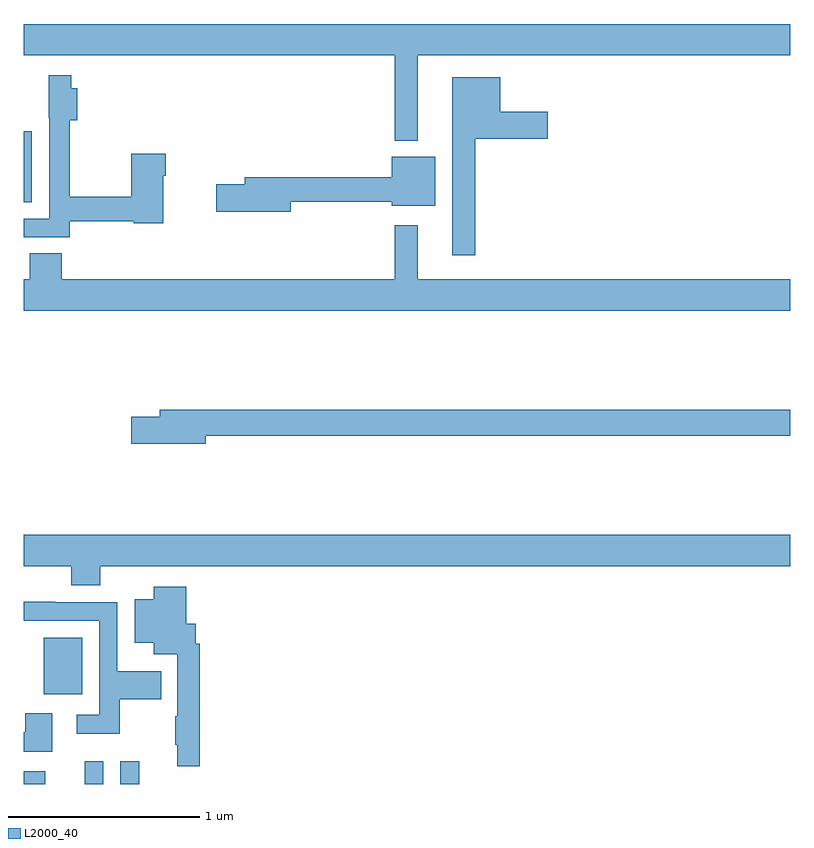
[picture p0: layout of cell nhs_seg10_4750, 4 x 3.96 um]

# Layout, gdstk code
import gdstk
lib = gdstk.Library(unit=1e-6, precision=1e-09)
def R(c, l, rs):  # rectangles x0, y0, x1, y1
    for r in rs: c.add(gdstk.rectangle(r[:2], r[2:], *l))
def P(c, l, *ps):  # polygons
    for p in ps: c.add(gdstk.Polygon(p, *l))
L2000_40 = (2000, 40)

nhs_seg10_4750 = lib.new_cell('nhs_seg10_4750')
R(nhs_seg10_4750, L2000_40, [(383,1312.5,383.113,1312.567), (383.318,1312.5,383.415,1312.618), (383.505,1312.5,383.603,1312.618), (383.105,1312.967,383.305,1313.263), (383,1315.534,383.044,1315.905)])
P(nhs_seg10_4750, L2000_40, [(385.057,1316.3),(387,1316.3),(387,1316.464),(383,1316.464),(383,1316.3),(384.936,1316.3),(384.936,1315.856),(385.057,1315.856)],
  [(383.242,1315.434),(383.574,1315.434),(383.574,1315.426),(383.728,1315.426),(383.728,1315.673),(383.741,1315.673),(383.741,1315.786),(383.563,1315.786),(383.563,1315.562),(383.242,1315.562),(383.242,1315.963),(383.279,1315.963),(383.279,1316.128),(383.249,1316.128),(383.249,1316.197),(383.132,1316.197),(383.132,1315.974),(383.133,1315.974),(383.133,1315.449),(383,1315.449),(383,1315.353),(383.242,1315.353)],
  [(385.357,1315.865),(385.735,1315.865),(385.735,1316.007),(385.486,1316.007),(385.486,1316.185),(385.235,1316.185),(385.235,1315.257),(385.357,1315.257)],
  [(384.394,1315.536),(384.92,1315.536),(384.92,1315.517),(385.147,1315.517),(385.147,1315.771),(384.92,1315.771),(384.92,1315.664),(384.155,1315.664),(384.155,1315.628),(384.006,1315.628),(384.006,1315.486),(384.394,1315.486)],
  [(387,1315.132),(385.057,1315.132),(385.057,1315.414),(384.936,1315.414),(384.936,1315.132),(383.198,1315.132),(383.198,1315.268),(383.033,1315.268),(383.033,1315.132),(383,1315.132),(383,1314.968),(387,1314.968)],
  [(383.95,1314.316),(387,1314.316),(387,1314.452),(383.711,1314.452),(383.711,1314.416),(383.562,1314.416),(383.562,1314.274),(383.95,1314.274)],
  [(383.401,1313.636),(387,1313.636),(387,1313.8),(383,1313.8),(383,1313.636),(383.249,1313.636),(383.249,1313.537),(383.401,1313.537)],
  [(383.918,1313.231),(383.898,1313.231),(383.898,1313.335),(383.849,1313.335),(383.849,1313.53),(383.678,1313.53),(383.678,1313.464),(383.579,1313.464),(383.579,1313.237),(383.678,1313.237),(383.678,1313.177),(383.802,1313.177),(383.802,1312.853),(383.79,1312.853),(383.79,1312.705),(383.801,1312.705),(383.801,1312.593),(383.918,1312.593)],
  [(383.503,1312.942),(383.717,1312.942),(383.717,1313.089),(383.49,1313.089),(383.49,1313.448),(383.165,1313.448),(383.165,1313.45),(383,1313.45),(383,1313.352),(383.394,1313.352),(383.394,1312.86),(383.277,1312.86),(383.277,1312.763),(383.503,1312.763)],
  [(383.149,1312.87),(383.009,1312.87),(383.009,1312.771),(383,1312.771),(383,1312.667),(383.149,1312.667)])

lib.write_gds('nhs_seg10_4750.gds')
